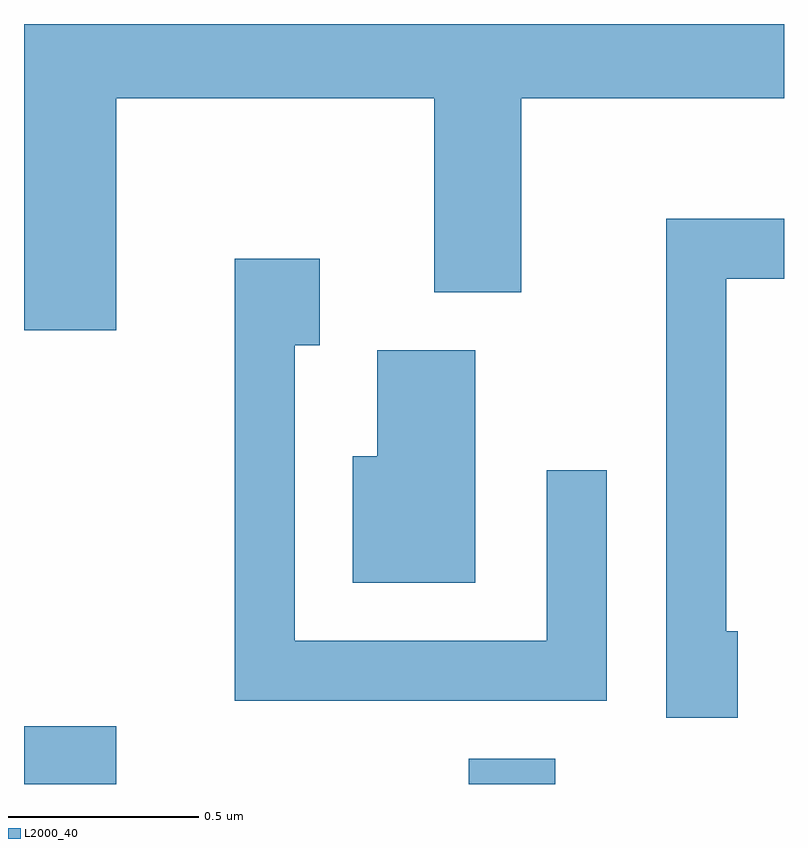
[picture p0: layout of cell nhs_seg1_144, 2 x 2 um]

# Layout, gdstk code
import gdstk
lib = gdstk.Library(unit=1e-6, precision=1e-09)
def R(c, l, rs):  # rectangles x0, y0, x1, y1
    for r in rs: c.add(gdstk.rectangle(r[:2], r[2:], *l))
def P(c, l, *ps):  # polygons
    for p in ps: c.add(gdstk.Polygon(p, *l))
L2000_40 = (2000, 40)

nhs_seg1_144 = lib.new_cell('nhs_seg1_144')
R(nhs_seg1_144, L2000_40, [(186.611,846.712,186.854,846.864), (187.781,846.712,188.009,846.779)])
P(nhs_seg1_144, L2000_40, [(186.854,848.516),(187.691,848.516),(187.691,848.006),(187.919,848.006),(187.919,848.516),(188.611,848.516),(188.611,848.712),(186.611,848.712),(186.611,847.906),(186.854,847.906)],
  [(188.489,847.114),(188.459,847.114),(188.459,848.041),(188.611,848.041),(188.611,848.199),(188.301,848.199),(188.301,846.886),(188.489,846.886)],
  [(188.144,847.538),(187.986,847.538),(187.986,847.089),(187.324,847.089),(187.324,847.866),(187.389,847.866),(187.389,848.094),(187.166,848.094),(187.166,846.931),(188.144,846.931)],
  [(187.799,847.854),(187.541,847.854),(187.541,847.574),(187.476,847.574),(187.476,847.241),(187.799,847.241)])

lib.write_gds('nhs_seg1_144.gds')
